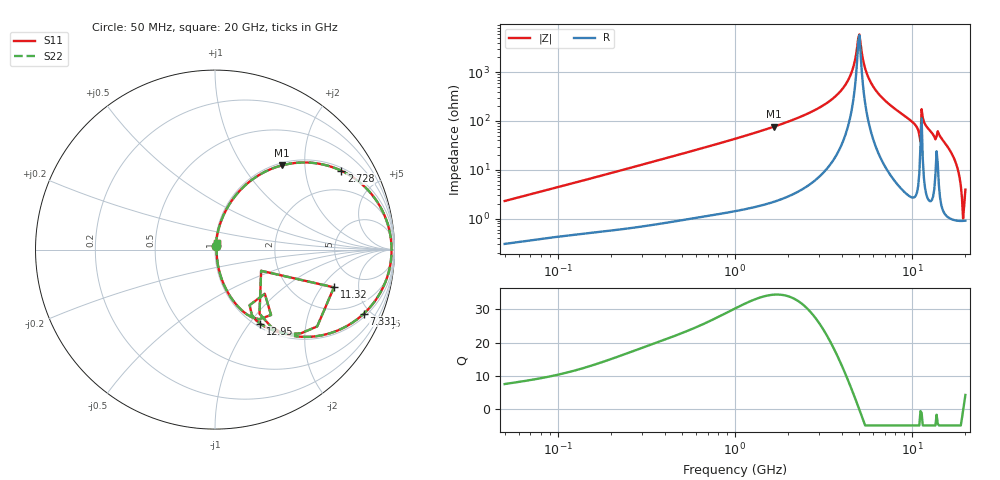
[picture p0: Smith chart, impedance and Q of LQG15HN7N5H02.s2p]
!Murata Part Number: LQG15HN7N5H02
!These Parameters are Measured in Series Mode Connection
!  o--[Z]--o
!Port1  Port2
!  o-------o
!Freq. Start=50[MHz] Stop=20[GHz], 401[Steps]
# Hz S RI R 50
!Freq.(Hz) S11(Real) S11(Imag) S21(Real) S21(Imag) S12(Real) S12(Imag) S22(Real) S22(Imag)
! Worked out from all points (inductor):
!   401 points, 50 MHz to 20 GHz, reference 50 ohm
!   read as one part in series: L = 7.17 nH near 51.52 MHz
!   highest Q = 34.5 at 1.664 GHz (marker M1), where L = 7.34 nH
!   self-resonance near 4.967 GHz
!   S11 on the Smith chart (normalised r, x): 50 MHz: 1.01, +0.05; 2.728 GHz: 1.11, +3.13; 7.331 GHz: 1.18, -4.57; 11.32 GHz: 3.27, -2.66; 12.95 GHz: 1.05, -1.13; 20 GHz: 1.02, +0.08
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5e7  0.00355 0.0227  0.9964 -0.0227  0.9964 -0.0227  0.00355 0.0227
1.364002e8  0.00831 0.0586  0.9917 -0.0586  0.9917 -0.0586  0.00831 0.0586
3.721004e8  0.0316 0.1521  0.9684 -0.1521  0.9684 -0.1521  0.0316 0.1521
1e9  0.165 0.3551  0.835 -0.3551  0.835 -0.3551  0.165 0.3551
1.664083e9  0.3741 0.4696  0.6259 -0.4696  0.6259 -0.4696  0.3741 0.4696
2.728004e9  0.7039 0.4394  0.2961 -0.4394  0.2961 -0.4394  0.7039 0.4394
4.149438e9  0.9486 0.1806  0.0514 -0.1806  0.0514 -0.1806  0.9486 0.1806
4.539627e9  0.9736 0.0985  0.0264 -0.0985  0.0264 -0.0985  0.9736 0.0985
5.041459e9  0.9838 -0.00417  0.0162 0.00417  0.0162 0.00417  0.9838 -0.00417
5.769027e9  0.9637 -0.1397  0.0363 0.1397  0.0363 0.1397  0.9637 -0.1397
7.331367e9  0.8301 -0.3561  0.1699 0.3561  0.1699 0.3561  0.8301 -0.3561
7.442007e9  0.8177 -0.3674  0.1823 0.3674  0.1823 0.3674  0.8177 -0.3674
9.892087e9  0.4995 -0.4864  0.5005 0.4864  0.5005 0.4864  0.4995 -0.4864
1.082228e10  0.3118 -0.429  0.6882 0.429  0.6882 0.429  0.3118 -0.429
1.131968e10  0.6628 -0.2104  0.3372 0.2104  0.3372 0.2104  0.6628 -0.2104
1.183995e10  0.4262 -0.4705  0.5738 0.4705  0.5738 0.4705  0.4262 -0.4705
1.295331e10  0.2517 -0.4131  0.7483 0.4131  0.7483 0.4131  0.2517 -0.4131
1.438523e10  0.2051 -0.377  0.7949 0.377  0.7949 0.377  0.2051 -0.377
1.670968e10  0.0538 -0.2043  0.9462 0.2043  0.9462 0.2043  0.0538 -0.2043
1.800918e10  0.0207 -0.1071  0.9793 0.1071  0.9793 0.1071  0.0207 -0.1071
1.912117e10  0.00956 -0.0252  0.9904 0.0252  0.9904 0.0252  0.00956 -0.0252
2e10  0.0105 0.0375  0.9895 -0.0375  0.9895 -0.0375  0.0105 0.0375
